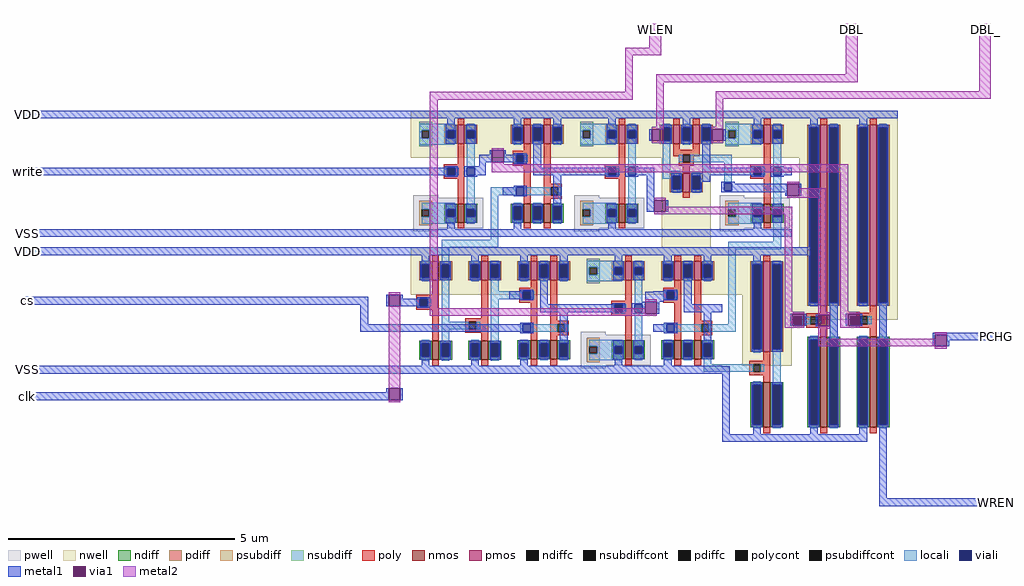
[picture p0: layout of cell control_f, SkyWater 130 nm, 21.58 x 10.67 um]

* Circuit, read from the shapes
.subckt control_f DBL DBL_ PCHG VDD VSS WLEN WREN clk cs write
XM1 n1 clk VSS VSS sky130_fd_pr__nfet_01v8 w=0.42 l=0.15
XM2 n2 write VSS VSS sky130_fd_pr__nfet_01v8 w=0.42 l=0.15
XM3 n3 n1 VSS VSS sky130_fd_pr__nfet_01v8 w=0.42 l=0.15
XM4 n4 n2 VSS VSS sky130_fd_pr__nfet_01v8 w=0.42 l=0.15
XM5 n5 n3 VSS VSS sky130_fd_pr__nfet_01v8 w=0.42 l=0.15
XM6 n6 n1 n4 VSS sky130_fd_pr__nfet_01v8 w=0.42 l=0.15
XM7 n7 cs n5 VSS sky130_fd_pr__nfet_01v8 w=0.42 l=0.15
XM8 n8 n6 VSS VSS sky130_fd_pr__nfet_01v8 w=0.42 l=0.15
XM9 WLEN n7 VSS VSS sky130_fd_pr__nfet_01v8 w=0.42 l=0.15
XM10 n9 WLEN VSS VSS sky130_fd_pr__nfet_01v8 w=0.42 l=0.15
XM11 n10 n11 n9 VSS sky130_fd_pr__nfet_01v8 w=0.42 l=0.15
XM12 n12 n10 VSS VSS sky130_fd_pr__nfet_01v8 w=1 l=0.15
XM13 n11 DBL_ VSS VSS sky130_fd_pr__nfet_01v8 w=0.42 l=0.15
XM14 PCHG n8 VSS VSS sky130_fd_pr__nfet_01v8 w=2 l=0.15
XM15 WREN n2 VSS VSS sky130_fd_pr__nfet_01v8 w=2 l=0.15
XM16 n1 clk VDD VDD sky130_fd_pr__pfet_01v8 w=0.42 l=0.15
XM17 n2 write VDD VDD sky130_fd_pr__pfet_01v8 w=0.42 l=0.15
XM18 n3 n1 VDD VDD sky130_fd_pr__pfet_01v8 w=0.42 l=0.15
XM19 n6 n2 VDD VDD sky130_fd_pr__pfet_01v8 w=0.42 l=0.15
XM20 n7 n3 VDD VDD sky130_fd_pr__pfet_01v8 w=0.42 l=0.15
XM21 VDD n1 n6 VDD sky130_fd_pr__pfet_01v8 w=0.42 l=0.15
XM22 VDD cs n7 VDD sky130_fd_pr__pfet_01v8 w=0.42 l=0.15
XM23 n8 n6 VDD VDD sky130_fd_pr__pfet_01v8 w=0.42 l=0.15
XM24 WLEN n7 VDD VDD sky130_fd_pr__pfet_01v8 w=0.42 l=0.15
XM25 VDD PCHG DBL VDD sky130_fd_pr__pfet_01v8 w=0.42 l=0.15
XM26 n10 WLEN VDD VDD sky130_fd_pr__pfet_01v8 w=0.42 l=0.15
XM27 DBL_ PCHG DBL VDD sky130_fd_pr__pfet_01v8 w=0.42 l=0.15
XM28 DBL_ PCHG VDD VDD sky130_fd_pr__pfet_01v8 w=0.42 l=0.15
XM29 VDD n11 n10 VDD sky130_fd_pr__pfet_01v8 w=0.42 l=0.15
XM30 n12 n10 VDD VDD sky130_fd_pr__pfet_01v8 w=2 l=0.15
XM31 n11 DBL_ VDD VDD sky130_fd_pr__pfet_01v8 w=0.42 l=0.15
XM32 PCHG n8 VDD VDD sky130_fd_pr__pfet_01v8 w=4 l=0.15
XM33 WREN n2 VDD VDD sky130_fd_pr__pfet_01v8 w=4 l=0.15
.ends

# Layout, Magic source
magic
tech sky130A
magscale 1 2
<< nwell >>
rect 1711 1541 3864 1749
rect 2820 1144 3038 1541
rect 3395 1540 3864 1541
rect 3428 1144 3864 1540
rect 1711 936 3864 1144
rect 3088 935 3864 936
rect 3176 825 3864 935
rect 3176 620 3394 825
<< pwell >>
rect 1721 1364 1831 1376
rect 2433 1364 2543 1376
rect 1721 1228 2031 1364
rect 2433 1228 2743 1364
rect 1721 1216 1831 1228
rect 2433 1216 2543 1228
rect 3076 1364 3186 1376
rect 3076 1228 3386 1364
rect 3076 1216 3186 1228
rect 2462 759 2572 771
rect 2462 623 2772 759
rect 2462 611 2572 623
<< nmos >>
rect 1917 1254 1947 1338
rect 2211 1254 2241 1338
rect 2299 1254 2329 1338
rect 2629 1254 2659 1338
rect 3272 1254 3302 1338
rect 1805 648 1835 732
rect 2023 648 2053 732
rect 2240 649 2270 733
rect 2328 649 2358 733
rect 2658 649 2688 733
rect 2876 649 2906 733
rect 2964 649 2994 733
rect 3270 349 3300 549
rect 3522 349 3552 749
rect 3740 349 3770 749
<< pmos >>
rect 1917 1603 1947 1687
rect 2211 1603 2241 1687
rect 2299 1603 2329 1687
rect 2629 1603 2659 1687
rect 2870 1603 2900 1687
rect 2958 1603 2988 1687
rect 3272 1603 3302 1687
rect 2914 1389 2944 1473
rect 1805 998 1835 1082
rect 2023 998 2053 1082
rect 2240 998 2270 1082
rect 2328 998 2358 1082
rect 2658 998 2688 1082
rect 2876 998 2906 1082
rect 2964 998 2994 1082
rect 3270 682 3300 1082
rect 3522 887 3552 1687
rect 3740 887 3770 1687
<< ndiff >>
rect 1859 1313 1917 1338
rect 1859 1279 1871 1313
rect 1905 1279 1917 1313
rect 1859 1254 1917 1279
rect 1947 1313 2005 1338
rect 1947 1279 1959 1313
rect 1993 1279 2005 1313
rect 1947 1254 2005 1279
rect 2153 1326 2211 1338
rect 2153 1266 2165 1326
rect 2199 1266 2211 1326
rect 2153 1254 2211 1266
rect 2241 1326 2299 1338
rect 2241 1266 2253 1326
rect 2287 1266 2299 1326
rect 2241 1254 2299 1266
rect 2329 1326 2387 1338
rect 2329 1266 2341 1326
rect 2375 1266 2387 1326
rect 2329 1254 2387 1266
rect 2571 1313 2629 1338
rect 2571 1279 2583 1313
rect 2617 1279 2629 1313
rect 2571 1254 2629 1279
rect 2659 1313 2717 1338
rect 2659 1279 2671 1313
rect 2705 1279 2717 1313
rect 2659 1254 2717 1279
rect 3214 1313 3272 1338
rect 3214 1279 3226 1313
rect 3260 1279 3272 1313
rect 3214 1254 3272 1279
rect 3302 1313 3360 1338
rect 3302 1279 3314 1313
rect 3348 1279 3360 1313
rect 3302 1254 3360 1279
rect 1747 720 1805 732
rect 1747 660 1759 720
rect 1793 660 1805 720
rect 1747 648 1805 660
rect 1835 720 1893 732
rect 1835 660 1847 720
rect 1881 660 1893 720
rect 1835 648 1893 660
rect 1965 720 2023 732
rect 1965 660 1977 720
rect 2011 660 2023 720
rect 1965 648 2023 660
rect 2053 720 2111 732
rect 2053 660 2065 720
rect 2099 660 2111 720
rect 2053 648 2111 660
rect 2182 721 2240 733
rect 2182 661 2194 721
rect 2228 661 2240 721
rect 2182 649 2240 661
rect 2270 721 2328 733
rect 2270 661 2282 721
rect 2316 661 2328 721
rect 2270 649 2328 661
rect 2358 721 2416 733
rect 2358 661 2370 721
rect 2404 661 2416 721
rect 2358 649 2416 661
rect 2600 708 2658 733
rect 2600 674 2612 708
rect 2646 674 2658 708
rect 2600 649 2658 674
rect 2688 708 2746 733
rect 2688 674 2700 708
rect 2734 674 2746 708
rect 2688 649 2746 674
rect 2818 721 2876 733
rect 2818 661 2830 721
rect 2864 661 2876 721
rect 2818 649 2876 661
rect 2906 721 2964 733
rect 2906 661 2918 721
rect 2952 661 2964 721
rect 2906 649 2964 661
rect 2994 721 3052 733
rect 2994 661 3006 721
rect 3040 661 3052 721
rect 3464 737 3522 749
rect 2994 649 3052 661
rect 3212 537 3270 549
rect 3212 361 3224 537
rect 3258 361 3270 537
rect 3212 349 3270 361
rect 3300 537 3358 549
rect 3300 361 3312 537
rect 3346 361 3358 537
rect 3300 349 3358 361
rect 3464 361 3476 737
rect 3510 361 3522 737
rect 3464 349 3522 361
rect 3552 737 3610 749
rect 3552 361 3564 737
rect 3598 361 3610 737
rect 3552 349 3610 361
rect 3682 737 3740 749
rect 3682 361 3694 737
rect 3728 361 3740 737
rect 3682 349 3740 361
rect 3770 737 3828 749
rect 3770 361 3782 737
rect 3816 361 3828 737
rect 3770 349 3828 361
<< pdiff >>
rect 1859 1662 1917 1687
rect 1859 1628 1871 1662
rect 1905 1628 1917 1662
rect 1859 1603 1917 1628
rect 1947 1662 2005 1687
rect 1947 1628 1959 1662
rect 1993 1628 2005 1662
rect 1947 1603 2005 1628
rect 2153 1675 2211 1687
rect 2153 1615 2165 1675
rect 2199 1615 2211 1675
rect 2153 1603 2211 1615
rect 2241 1675 2299 1687
rect 2241 1615 2253 1675
rect 2287 1615 2299 1675
rect 2241 1603 2299 1615
rect 2329 1675 2387 1687
rect 2329 1615 2341 1675
rect 2375 1615 2387 1675
rect 2329 1603 2387 1615
rect 2571 1662 2629 1687
rect 2571 1628 2583 1662
rect 2617 1628 2629 1662
rect 2571 1603 2629 1628
rect 2659 1662 2717 1687
rect 2659 1628 2671 1662
rect 2705 1628 2717 1662
rect 2659 1603 2717 1628
rect 2812 1675 2870 1687
rect 2812 1615 2824 1675
rect 2858 1615 2870 1675
rect 2812 1603 2870 1615
rect 2900 1675 2958 1687
rect 2900 1615 2912 1675
rect 2946 1615 2958 1675
rect 2900 1603 2958 1615
rect 2988 1675 3046 1687
rect 2988 1615 3000 1675
rect 3034 1615 3046 1675
rect 2988 1603 3046 1615
rect 3214 1662 3272 1687
rect 3214 1628 3226 1662
rect 3260 1628 3272 1662
rect 3214 1603 3272 1628
rect 3302 1662 3360 1687
rect 3302 1628 3314 1662
rect 3348 1628 3360 1662
rect 3302 1603 3360 1628
rect 3464 1675 3522 1687
rect 2856 1461 2914 1473
rect 2856 1401 2868 1461
rect 2902 1401 2914 1461
rect 2856 1389 2914 1401
rect 2944 1461 3002 1473
rect 2944 1401 2956 1461
rect 2990 1401 3002 1461
rect 2944 1389 3002 1401
rect 1747 1070 1805 1082
rect 1747 1010 1759 1070
rect 1793 1010 1805 1070
rect 1747 998 1805 1010
rect 1835 1070 1893 1082
rect 1835 1010 1847 1070
rect 1881 1010 1893 1070
rect 1835 998 1893 1010
rect 1965 1070 2023 1082
rect 1965 1010 1977 1070
rect 2011 1010 2023 1070
rect 1965 998 2023 1010
rect 2053 1070 2111 1082
rect 2053 1010 2065 1070
rect 2099 1010 2111 1070
rect 2053 998 2111 1010
rect 2182 1070 2240 1082
rect 2182 1010 2194 1070
rect 2228 1010 2240 1070
rect 2182 998 2240 1010
rect 2270 1070 2328 1082
rect 2270 1010 2282 1070
rect 2316 1010 2328 1070
rect 2270 998 2328 1010
rect 2358 1070 2416 1082
rect 2358 1010 2370 1070
rect 2404 1010 2416 1070
rect 2358 998 2416 1010
rect 2600 1057 2658 1082
rect 2600 1023 2612 1057
rect 2646 1023 2658 1057
rect 2600 998 2658 1023
rect 2688 1057 2746 1082
rect 2688 1023 2700 1057
rect 2734 1023 2746 1057
rect 2688 998 2746 1023
rect 2818 1070 2876 1082
rect 2818 1010 2830 1070
rect 2864 1010 2876 1070
rect 2818 998 2876 1010
rect 2906 1070 2964 1082
rect 2906 1010 2918 1070
rect 2952 1010 2964 1070
rect 2906 998 2964 1010
rect 2994 1070 3052 1082
rect 2994 1010 3006 1070
rect 3040 1010 3052 1070
rect 2994 998 3052 1010
rect 3212 1070 3270 1082
rect 3212 694 3224 1070
rect 3258 694 3270 1070
rect 3212 682 3270 694
rect 3300 1070 3358 1082
rect 3300 694 3312 1070
rect 3346 694 3358 1070
rect 3464 899 3476 1675
rect 3510 899 3522 1675
rect 3464 887 3522 899
rect 3552 1675 3610 1687
rect 3552 899 3564 1675
rect 3598 899 3610 1675
rect 3552 887 3610 899
rect 3682 1675 3740 1687
rect 3682 899 3694 1675
rect 3728 899 3740 1675
rect 3682 887 3740 899
rect 3770 1675 3828 1687
rect 3770 899 3782 1675
rect 3816 899 3828 1675
rect 3770 887 3828 899
rect 3300 682 3358 694
<< ndiffc >>
rect 1871 1279 1905 1313
rect 1959 1279 1993 1313
rect 2165 1266 2199 1326
rect 2253 1266 2287 1326
rect 2341 1266 2375 1326
rect 2583 1279 2617 1313
rect 2671 1279 2705 1313
rect 3226 1279 3260 1313
rect 3314 1279 3348 1313
rect 1759 660 1793 720
rect 1847 660 1881 720
rect 1977 660 2011 720
rect 2065 660 2099 720
rect 2194 661 2228 721
rect 2282 661 2316 721
rect 2370 661 2404 721
rect 2612 674 2646 708
rect 2700 674 2734 708
rect 2830 661 2864 721
rect 2918 661 2952 721
rect 3006 661 3040 721
rect 3224 361 3258 537
rect 3312 361 3346 537
rect 3476 361 3510 737
rect 3564 361 3598 737
rect 3694 361 3728 737
rect 3782 361 3816 737
<< pdiffc >>
rect 1871 1628 1905 1662
rect 1959 1628 1993 1662
rect 2165 1615 2199 1675
rect 2253 1615 2287 1675
rect 2341 1615 2375 1675
rect 2583 1628 2617 1662
rect 2671 1628 2705 1662
rect 2824 1615 2858 1675
rect 2912 1615 2946 1675
rect 3000 1615 3034 1675
rect 3226 1628 3260 1662
rect 3314 1628 3348 1662
rect 2868 1401 2902 1461
rect 2956 1401 2990 1461
rect 1759 1010 1793 1070
rect 1847 1010 1881 1070
rect 1977 1010 2011 1070
rect 2065 1010 2099 1070
rect 2194 1010 2228 1070
rect 2282 1010 2316 1070
rect 2370 1010 2404 1070
rect 2612 1023 2646 1057
rect 2700 1023 2734 1057
rect 2830 1010 2864 1070
rect 2918 1010 2952 1070
rect 3006 1010 3040 1070
rect 3224 694 3258 1070
rect 3312 694 3346 1070
rect 3476 899 3510 1675
rect 3564 899 3598 1675
rect 3694 899 3728 1675
rect 3782 899 3816 1675
<< psubdiff >>
rect 1747 1313 1805 1350
rect 1747 1279 1759 1313
rect 1793 1279 1805 1313
rect 1747 1242 1805 1279
rect 2459 1313 2517 1350
rect 2459 1279 2471 1313
rect 2505 1279 2517 1313
rect 2459 1242 2517 1279
rect 3102 1313 3160 1350
rect 3102 1279 3114 1313
rect 3148 1279 3160 1313
rect 3102 1242 3160 1279
rect 2488 708 2546 745
rect 2488 674 2500 708
rect 2534 674 2546 708
rect 2488 637 2546 674
<< nsubdiff >>
rect 1747 1662 1805 1699
rect 1747 1628 1759 1662
rect 1793 1628 1805 1662
rect 1747 1591 1805 1628
rect 2459 1662 2517 1699
rect 2459 1628 2471 1662
rect 2505 1628 2517 1662
rect 2459 1591 2517 1628
rect 3102 1662 3160 1699
rect 3102 1628 3114 1662
rect 3148 1628 3160 1662
rect 3102 1591 3160 1628
rect 2488 1057 2546 1094
rect 2488 1023 2500 1057
rect 2534 1023 2546 1057
rect 2488 986 2546 1023
<< psubdiffcont >>
rect 1759 1279 1793 1313
rect 2471 1279 2505 1313
rect 3114 1279 3148 1313
rect 2500 674 2534 708
<< nsubdiffcont >>
rect 1759 1628 1793 1662
rect 2471 1628 2505 1662
rect 3114 1628 3148 1662
rect 2500 1023 2534 1057
<< poly >>
rect 1917 1687 1947 1713
rect 2211 1687 2241 1713
rect 2299 1687 2329 1713
rect 2629 1687 2659 1713
rect 2870 1687 2900 1713
rect 2958 1687 2988 1713
rect 1917 1513 1947 1603
rect 2211 1571 2241 1603
rect 1856 1497 1947 1513
rect 2161 1555 2241 1571
rect 2161 1521 2177 1555
rect 2211 1521 2241 1555
rect 2161 1505 2241 1521
rect 1856 1463 1872 1497
rect 1906 1463 1947 1497
rect 1856 1447 1947 1463
rect 1917 1338 1947 1447
rect 2211 1338 2241 1505
rect 2299 1426 2329 1603
rect 3272 1687 3302 1713
rect 3522 1687 3552 1713
rect 3740 1687 3770 1713
rect 2629 1513 2659 1603
rect 2870 1577 2900 1603
rect 2958 1577 2988 1603
rect 2870 1555 2988 1577
rect 2870 1547 2912 1555
rect 2568 1497 2659 1513
rect 2896 1521 2912 1547
rect 2946 1547 2988 1555
rect 2946 1521 2961 1547
rect 2896 1505 2961 1521
rect 3272 1513 3302 1603
rect 2913 1499 2944 1505
rect 2568 1463 2584 1497
rect 2618 1463 2659 1497
rect 2914 1473 2944 1499
rect 3211 1497 3302 1513
rect 2568 1447 2659 1463
rect 2299 1410 2379 1426
rect 2299 1376 2329 1410
rect 2363 1376 2379 1410
rect 2299 1360 2379 1376
rect 2299 1338 2329 1360
rect 2629 1338 2659 1447
rect 3211 1463 3227 1497
rect 3261 1463 3302 1497
rect 3211 1447 3302 1463
rect 2914 1363 2944 1389
rect 1917 1228 1947 1254
rect 2211 1228 2241 1254
rect 2299 1228 2329 1254
rect 3272 1338 3302 1447
rect 2629 1228 2659 1254
rect 3272 1228 3302 1254
rect 1805 1082 1835 1108
rect 2023 1082 2053 1108
rect 2240 1082 2270 1108
rect 2328 1082 2358 1108
rect 2658 1082 2688 1108
rect 2876 1082 2906 1108
rect 2964 1082 2994 1108
rect 3270 1082 3300 1108
rect 1805 935 1835 998
rect 1734 918 1835 935
rect 1734 884 1751 918
rect 1785 884 1835 918
rect 1734 868 1835 884
rect 1805 732 1835 868
rect 2023 832 2053 998
rect 2240 966 2270 998
rect 2190 950 2270 966
rect 2190 916 2206 950
rect 2240 916 2270 950
rect 2190 900 2270 916
rect 1951 816 2053 832
rect 1951 782 1967 816
rect 2001 782 2053 816
rect 1951 766 2053 782
rect 2023 732 2053 766
rect 2240 733 2270 900
rect 2328 821 2358 998
rect 2658 908 2688 998
rect 2876 966 2906 998
rect 2597 892 2688 908
rect 2826 950 2906 966
rect 2826 916 2842 950
rect 2876 916 2906 950
rect 2826 900 2906 916
rect 2597 858 2613 892
rect 2647 858 2688 892
rect 2597 842 2688 858
rect 2328 805 2408 821
rect 2328 771 2358 805
rect 2392 771 2408 805
rect 2328 755 2408 771
rect 2328 733 2358 755
rect 2658 733 2688 842
rect 2876 733 2906 900
rect 2964 821 2994 998
rect 2964 805 3044 821
rect 2964 771 2994 805
rect 3028 771 3044 805
rect 2964 755 3044 771
rect 2964 733 2994 755
rect 1805 622 1835 648
rect 2023 622 2053 648
rect 2240 623 2270 649
rect 2328 623 2358 649
rect 3522 854 3552 887
rect 3740 855 3770 887
rect 3460 838 3552 854
rect 3460 804 3476 838
rect 3510 804 3552 838
rect 3460 788 3552 804
rect 3681 839 3770 855
rect 3681 805 3698 839
rect 3732 805 3770 839
rect 3681 789 3770 805
rect 3522 749 3552 788
rect 3740 749 3770 789
rect 2658 623 2688 649
rect 2876 623 2906 649
rect 2964 623 2994 649
rect 3270 644 3300 682
rect 3208 628 3300 644
rect 3208 594 3224 628
rect 3258 594 3300 628
rect 3208 578 3300 594
rect 3270 549 3300 578
rect 3270 323 3300 349
rect 3522 323 3552 349
rect 3740 323 3770 349
<< polycont >>
rect 2177 1521 2211 1555
rect 1872 1463 1906 1497
rect 2912 1521 2946 1555
rect 2584 1463 2618 1497
rect 2329 1376 2363 1410
rect 3227 1463 3261 1497
rect 1751 884 1785 918
rect 2206 916 2240 950
rect 1967 782 2001 816
rect 2842 916 2876 950
rect 2613 858 2647 892
rect 2358 771 2392 805
rect 2994 771 3028 805
rect 3476 804 3510 838
rect 3698 805 3732 839
rect 3224 594 3258 628
<< locali >>
rect 1747 1662 1905 1691
rect 1747 1628 1759 1662
rect 1793 1628 1871 1662
rect 1747 1599 1905 1628
rect 1959 1662 1993 1691
rect 1959 1497 1993 1628
rect 2165 1675 2199 1691
rect 2165 1599 2199 1615
rect 2253 1675 2287 1691
rect 2253 1599 2287 1615
rect 2341 1675 2375 1691
rect 2341 1599 2375 1615
rect 2459 1662 2617 1691
rect 2459 1628 2471 1662
rect 2505 1628 2583 1662
rect 2459 1599 2617 1628
rect 2671 1662 2705 1691
rect 2161 1521 2177 1555
rect 2211 1521 2227 1555
rect 2671 1497 2705 1628
rect 1856 1463 1872 1497
rect 1906 1463 1922 1497
rect 2568 1463 2584 1497
rect 2618 1463 2634 1497
rect 1759 1313 1905 1342
rect 1793 1279 1871 1313
rect 1759 1250 1905 1279
rect 1959 1313 1993 1463
rect 1959 1250 1993 1279
rect 2063 1376 2177 1410
rect 2211 1376 2329 1410
rect 2363 1376 2379 1410
rect 2063 1178 2097 1376
rect 2165 1326 2199 1342
rect 2165 1250 2199 1266
rect 2253 1326 2287 1342
rect 2253 1250 2287 1266
rect 2341 1326 2375 1342
rect 2341 1250 2375 1266
rect 2471 1313 2617 1342
rect 2505 1279 2583 1313
rect 2471 1250 2617 1279
rect 2671 1313 2705 1463
rect 2824 1675 2858 1691
rect 2824 1483 2858 1615
rect 2912 1675 2946 1691
rect 2912 1599 2946 1615
rect 3000 1675 3034 1691
rect 3000 1599 3034 1615
rect 3102 1662 3260 1691
rect 3102 1628 3114 1662
rect 3148 1628 3226 1662
rect 3102 1599 3260 1628
rect 3314 1662 3348 1691
rect 2896 1521 2912 1555
rect 2946 1521 3130 1555
rect 2824 1461 2902 1483
rect 2824 1449 2868 1461
rect 2868 1385 2902 1401
rect 2956 1461 2990 1477
rect 2956 1385 2990 1401
rect 3096 1429 3130 1521
rect 3314 1497 3348 1628
rect 3211 1463 3227 1497
rect 3261 1463 3277 1497
rect 2671 1250 2705 1279
rect 3114 1313 3260 1342
rect 3148 1279 3226 1313
rect 3114 1250 3260 1279
rect 3314 1313 3348 1463
rect 1847 1144 2097 1178
rect 3314 1170 3348 1279
rect 1759 1070 1793 1086
rect 1759 994 1793 1010
rect 1847 1070 1881 1144
rect 3114 1136 3348 1170
rect 3476 1675 3510 1691
rect 1734 884 1751 918
rect 1785 884 1801 918
rect 1847 816 1881 1010
rect 1977 1070 2011 1086
rect 1977 994 2011 1010
rect 2065 1070 2099 1086
rect 2065 950 2099 1010
rect 2194 1070 2228 1086
rect 2194 994 2228 1010
rect 2282 1070 2316 1086
rect 2282 994 2316 1010
rect 2370 1070 2404 1086
rect 2370 994 2404 1010
rect 2488 1057 2646 1086
rect 2488 1023 2500 1057
rect 2534 1023 2612 1057
rect 2488 994 2646 1023
rect 2700 1057 2734 1086
rect 2065 916 2206 950
rect 2240 916 2256 950
rect 1847 782 1967 816
rect 2001 782 2017 816
rect 1759 720 1793 736
rect 1759 644 1793 660
rect 1847 720 1881 782
rect 1847 644 1881 660
rect 1977 720 2011 736
rect 1977 644 2011 660
rect 2065 720 2099 916
rect 2700 892 2734 1023
rect 2830 1070 2864 1086
rect 2830 994 2864 1010
rect 2918 1070 2952 1086
rect 2918 994 2952 1010
rect 3006 1070 3040 1086
rect 3006 994 3040 1010
rect 2826 916 2842 950
rect 2876 916 2892 950
rect 2597 858 2613 892
rect 2647 858 2663 892
rect 2194 771 2206 805
rect 2240 771 2358 805
rect 2392 771 2408 805
rect 2065 644 2099 660
rect 2194 721 2228 737
rect 2194 645 2228 661
rect 2282 721 2316 737
rect 2282 645 2316 661
rect 2370 721 2404 737
rect 2370 645 2404 661
rect 2500 708 2646 737
rect 2534 674 2612 708
rect 2500 645 2646 674
rect 2700 708 2734 858
rect 3114 805 3148 1136
rect 2830 771 2842 805
rect 2876 771 2994 805
rect 3028 771 3148 805
rect 3224 1070 3258 1086
rect 2700 645 2734 674
rect 2830 721 2864 737
rect 2830 645 2864 661
rect 2918 721 2952 737
rect 2918 645 2952 661
rect 3006 721 3040 737
rect 3224 678 3258 694
rect 3312 1070 3346 1086
rect 3476 883 3510 899
rect 3564 1675 3598 1691
rect 3439 804 3476 838
rect 3510 804 3526 838
rect 3006 628 3040 661
rect 3006 594 3224 628
rect 3258 594 3274 628
rect 3224 537 3258 553
rect 3224 345 3258 361
rect 3312 537 3346 694
rect 3312 345 3346 361
rect 3476 737 3510 753
rect 3476 345 3510 361
rect 3564 737 3598 899
rect 3694 1675 3728 1691
rect 3694 883 3728 899
rect 3782 1675 3816 1691
rect 3687 805 3698 839
rect 3732 805 3748 839
rect 3564 345 3598 361
rect 3694 737 3728 753
rect 3694 345 3728 361
rect 3782 737 3816 899
rect 3782 345 3816 361
<< viali >>
rect 1871 1628 1905 1662
rect 1959 1628 1993 1662
rect 2165 1615 2199 1675
rect 2253 1615 2287 1675
rect 2341 1615 2375 1675
rect 2583 1628 2617 1662
rect 2671 1628 2705 1662
rect 2177 1521 2211 1555
rect 1872 1463 1906 1497
rect 1959 1463 1993 1497
rect 2584 1463 2618 1497
rect 2671 1463 2705 1497
rect 1871 1279 1905 1313
rect 1959 1279 1993 1313
rect 2177 1376 2211 1410
rect 2165 1266 2199 1326
rect 2253 1266 2287 1326
rect 2341 1266 2375 1326
rect 2583 1279 2617 1313
rect 2824 1615 2858 1675
rect 2912 1615 2946 1675
rect 3000 1615 3034 1675
rect 3226 1628 3260 1662
rect 3314 1628 3348 1662
rect 2868 1401 2902 1461
rect 2956 1401 2990 1461
rect 3227 1463 3261 1497
rect 3314 1463 3348 1497
rect 3096 1395 3130 1429
rect 2671 1279 2705 1313
rect 3226 1279 3260 1313
rect 3314 1279 3348 1313
rect 1759 1010 1793 1070
rect 1847 1010 1881 1070
rect 1751 884 1785 918
rect 1977 1010 2011 1070
rect 2065 1010 2099 1070
rect 2194 1010 2228 1070
rect 2282 1010 2316 1070
rect 2370 1010 2404 1070
rect 2612 1023 2646 1057
rect 2700 1023 2734 1057
rect 2206 916 2240 950
rect 1759 660 1793 720
rect 1847 660 1881 720
rect 1977 660 2011 720
rect 2830 1010 2864 1070
rect 2918 1010 2952 1070
rect 3006 1010 3040 1070
rect 2842 916 2876 950
rect 2613 858 2647 892
rect 2700 858 2734 892
rect 2206 771 2240 805
rect 2065 660 2099 720
rect 2194 661 2228 721
rect 2282 661 2316 721
rect 2370 661 2404 721
rect 2612 674 2646 708
rect 2842 771 2876 805
rect 2700 674 2734 708
rect 2830 661 2864 721
rect 2918 661 2952 721
rect 3006 661 3040 721
rect 3224 694 3258 1070
rect 3312 694 3346 1070
rect 3476 899 3510 1675
rect 3564 899 3598 1675
rect 3405 804 3439 838
rect 3224 361 3258 537
rect 3312 361 3346 537
rect 3476 361 3510 737
rect 3694 899 3728 1675
rect 3782 899 3816 1675
rect 3653 805 3687 839
rect 3564 361 3598 737
rect 3694 361 3728 737
rect 3782 361 3816 737
<< metal1 >>
rect 0 1715 3864 1749
rect 1871 1687 1905 1715
rect 2165 1687 2199 1715
rect 2341 1687 2375 1715
rect 2583 1687 2617 1715
rect 2912 1687 2946 1715
rect 3226 1687 3260 1715
rect 3476 1687 3510 1715
rect 3694 1687 3728 1715
rect 1865 1662 1911 1687
rect 1865 1628 1871 1662
rect 1905 1628 1911 1662
rect 1865 1603 1911 1628
rect 1953 1662 1999 1687
rect 1953 1628 1959 1662
rect 1993 1628 1999 1662
rect 1953 1603 1999 1628
rect 2159 1675 2205 1687
rect 2159 1615 2165 1675
rect 2199 1615 2205 1675
rect 2159 1603 2205 1615
rect 2247 1675 2293 1687
rect 2247 1615 2253 1675
rect 2287 1615 2293 1675
rect 2247 1603 2293 1615
rect 2335 1675 2381 1687
rect 2335 1615 2341 1675
rect 2375 1615 2381 1675
rect 2335 1603 2381 1615
rect 2577 1662 2623 1687
rect 2577 1628 2583 1662
rect 2617 1628 2623 1662
rect 2577 1603 2623 1628
rect 2665 1662 2711 1687
rect 2818 1675 2864 1687
rect 2818 1667 2824 1675
rect 2665 1628 2671 1662
rect 2705 1628 2711 1662
rect 2665 1603 2711 1628
rect 2766 1615 2776 1667
rect 2858 1615 2864 1675
rect 2818 1603 2864 1615
rect 2906 1675 2952 1687
rect 2906 1615 2912 1675
rect 2946 1615 2952 1675
rect 2906 1603 2952 1615
rect 2994 1675 3040 1687
rect 2994 1615 3000 1675
rect 3034 1615 3040 1675
rect 3093 1615 3103 1667
rect 3220 1662 3266 1687
rect 3220 1628 3226 1662
rect 3260 1628 3266 1662
rect 2994 1603 3040 1615
rect 3220 1603 3266 1628
rect 3308 1662 3354 1687
rect 3308 1628 3314 1662
rect 3348 1628 3354 1662
rect 3308 1603 3354 1628
rect 3470 1675 3516 1687
rect 2059 1555 2069 1573
rect 2013 1521 2069 1555
rect 2121 1555 2131 1573
rect 2165 1555 2223 1561
rect 2121 1521 2177 1555
rect 2211 1521 2223 1555
rect 2013 1503 2041 1521
rect 2165 1515 2223 1521
rect 1860 1497 1918 1503
rect 0 1463 1872 1497
rect 1906 1463 1918 1497
rect 1860 1457 1918 1463
rect 1947 1497 2041 1503
rect 1947 1463 1959 1497
rect 1993 1463 2041 1497
rect 2253 1497 2287 1603
rect 2572 1497 2630 1503
rect 2253 1463 2584 1497
rect 2618 1463 2630 1497
rect 1947 1457 2005 1463
rect 2165 1410 2223 1416
rect 2117 1376 2177 1410
rect 2211 1376 2223 1410
rect 2165 1370 2223 1376
rect 2341 1338 2375 1463
rect 2572 1457 2630 1463
rect 2659 1497 2717 1503
rect 3000 1497 3034 1603
rect 3215 1497 3273 1503
rect 2659 1463 2671 1497
rect 2705 1463 2787 1497
rect 3000 1473 3227 1497
rect 2659 1457 2717 1463
rect 1865 1313 1911 1338
rect 1865 1279 1871 1313
rect 1905 1279 1911 1313
rect 1865 1254 1911 1279
rect 1953 1313 1999 1338
rect 1953 1279 1959 1313
rect 1993 1279 1999 1313
rect 1953 1254 1999 1279
rect 2159 1326 2205 1338
rect 2159 1266 2165 1326
rect 2199 1266 2205 1326
rect 2159 1254 2205 1266
rect 2247 1326 2293 1338
rect 2247 1266 2253 1326
rect 2287 1266 2293 1326
rect 2247 1254 2293 1266
rect 2335 1326 2381 1338
rect 2335 1266 2341 1326
rect 2375 1266 2381 1326
rect 2335 1254 2381 1266
rect 2577 1313 2623 1338
rect 2577 1279 2583 1313
rect 2617 1279 2623 1313
rect 2577 1254 2623 1279
rect 2665 1313 2711 1338
rect 2665 1279 2671 1313
rect 2705 1279 2711 1313
rect 2753 1301 2787 1463
rect 2862 1461 2908 1473
rect 2862 1401 2868 1461
rect 2902 1401 2908 1461
rect 2862 1389 2908 1401
rect 2950 1463 3227 1473
rect 3261 1463 3273 1497
rect 2950 1461 3034 1463
rect 2950 1401 2956 1461
rect 2990 1435 3034 1461
rect 3215 1457 3273 1463
rect 3302 1497 3360 1503
rect 3302 1463 3314 1497
rect 3348 1463 3396 1497
rect 3302 1457 3360 1463
rect 2990 1401 2996 1435
rect 2950 1389 2996 1401
rect 3084 1429 3142 1435
rect 3084 1395 3096 1429
rect 3130 1425 3142 1429
rect 3130 1395 3376 1425
rect 3084 1389 3376 1395
rect 3366 1373 3376 1389
rect 3428 1373 3438 1425
rect 2839 1301 2849 1353
rect 3220 1313 3266 1338
rect 2665 1254 2711 1279
rect 3220 1279 3226 1313
rect 3260 1279 3266 1313
rect 3220 1254 3266 1279
rect 3308 1313 3354 1338
rect 3308 1279 3314 1313
rect 3348 1279 3354 1313
rect 3308 1254 3354 1279
rect 1871 1225 1905 1254
rect 2165 1225 2199 1254
rect 2583 1225 2617 1254
rect 3226 1225 3260 1254
rect 0 1191 3396 1225
rect 3470 1144 3476 1675
rect 0 1110 3476 1144
rect 1759 1082 1793 1110
rect 1977 1082 2011 1110
rect 2194 1082 2228 1110
rect 2370 1082 2404 1110
rect 2612 1082 2646 1110
rect 2830 1082 2864 1110
rect 3006 1082 3040 1110
rect 3224 1082 3258 1110
rect 1753 1070 1799 1082
rect 1753 1010 1759 1070
rect 1793 1010 1799 1070
rect 1753 998 1799 1010
rect 1841 1070 1887 1082
rect 1841 1010 1847 1070
rect 1881 1010 1887 1070
rect 1841 998 1887 1010
rect 1971 1070 2017 1082
rect 1971 1010 1977 1070
rect 2011 1010 2017 1070
rect 1971 998 2017 1010
rect 2059 1070 2105 1082
rect 2059 1010 2065 1070
rect 2099 1010 2105 1070
rect 2059 998 2105 1010
rect 2188 1070 2234 1082
rect 2188 1010 2194 1070
rect 2228 1010 2234 1070
rect 2188 998 2234 1010
rect 2276 1070 2322 1082
rect 2276 1010 2282 1070
rect 2316 1010 2322 1070
rect 2276 998 2322 1010
rect 2364 1070 2410 1082
rect 2364 1010 2370 1070
rect 2404 1010 2410 1070
rect 2364 998 2410 1010
rect 2606 1057 2652 1082
rect 2606 1023 2612 1057
rect 2646 1023 2652 1057
rect 2606 998 2652 1023
rect 2694 1057 2740 1082
rect 2694 1023 2700 1057
rect 2734 1023 2740 1057
rect 2694 998 2740 1023
rect 2824 1070 2870 1082
rect 2824 1010 2830 1070
rect 2864 1010 2870 1070
rect 2824 998 2870 1010
rect 2912 1070 2958 1082
rect 2912 1010 2918 1070
rect 2952 1010 2958 1070
rect 2912 998 2958 1010
rect 3000 1070 3046 1082
rect 3000 1010 3006 1070
rect 3040 1010 3046 1070
rect 3000 998 3046 1010
rect 3218 1070 3264 1082
rect 2194 950 2252 956
rect 0 891 1522 925
rect 1488 805 1522 891
rect 1602 884 1612 936
rect 1664 918 1674 936
rect 1739 918 1797 924
rect 1664 884 1751 918
rect 1785 884 1797 918
rect 2146 916 2206 950
rect 2240 916 2252 950
rect 2194 910 2252 916
rect 1739 878 1797 884
rect 2282 892 2316 998
rect 2830 950 2888 956
rect 2782 949 2842 950
rect 2748 916 2842 949
rect 2876 916 2888 950
rect 2748 910 2888 916
rect 2748 904 2830 910
rect 2737 898 2747 904
rect 2601 892 2659 898
rect 2282 858 2613 892
rect 2647 858 2659 892
rect 2194 805 2252 811
rect 1488 771 2206 805
rect 2240 771 2252 805
rect 2194 765 2252 771
rect 2370 733 2404 858
rect 2601 852 2659 858
rect 2688 892 2747 898
rect 2688 858 2700 892
rect 2734 858 2747 892
rect 2688 852 2747 858
rect 2799 852 2809 904
rect 2918 892 2952 998
rect 2918 858 3088 892
rect 2830 805 2888 811
rect 2782 771 2842 805
rect 2876 771 2888 805
rect 2830 765 2888 771
rect 3006 733 3040 858
rect 1753 720 1799 732
rect 1753 660 1759 720
rect 1793 660 1799 720
rect 1753 648 1799 660
rect 1841 720 1887 732
rect 1841 660 1847 720
rect 1881 660 1887 720
rect 1841 648 1887 660
rect 1971 720 2017 732
rect 1971 660 1977 720
rect 2011 660 2017 720
rect 1971 648 2017 660
rect 2059 720 2105 732
rect 2059 660 2065 720
rect 2099 660 2105 720
rect 2059 648 2105 660
rect 2188 721 2234 733
rect 2188 661 2194 721
rect 2228 661 2234 721
rect 2188 649 2234 661
rect 2276 721 2322 733
rect 2276 661 2282 721
rect 2316 661 2322 721
rect 2276 649 2322 661
rect 2364 721 2410 733
rect 2364 661 2370 721
rect 2404 661 2410 721
rect 2364 649 2410 661
rect 2606 708 2652 733
rect 2606 674 2612 708
rect 2646 674 2652 708
rect 2606 649 2652 674
rect 2694 708 2740 733
rect 2694 674 2700 708
rect 2734 674 2740 708
rect 2694 649 2740 674
rect 2824 721 2870 733
rect 2824 661 2830 721
rect 2864 661 2870 721
rect 2824 649 2870 661
rect 2912 721 2958 733
rect 2912 661 2918 721
rect 2952 661 2958 721
rect 2912 649 2958 661
rect 3000 721 3046 733
rect 3000 661 3006 721
rect 3040 661 3046 721
rect 3218 694 3224 1070
rect 3258 694 3264 1070
rect 3218 682 3264 694
rect 3306 1070 3352 1082
rect 3306 694 3312 1070
rect 3346 694 3352 1070
rect 3470 899 3476 1110
rect 3510 899 3516 1675
rect 3470 887 3516 899
rect 3558 1675 3604 1687
rect 3558 899 3564 1675
rect 3598 899 3604 1675
rect 3558 887 3604 899
rect 3688 1675 3734 1687
rect 3688 899 3694 1675
rect 3728 899 3734 1675
rect 3688 887 3734 899
rect 3776 1675 3822 1687
rect 3776 899 3782 1675
rect 3816 899 3822 1675
rect 3776 887 3822 899
rect 3388 798 3398 850
rect 3450 798 3460 850
rect 3502 795 3512 847
rect 3564 749 3598 887
rect 3634 798 3644 850
rect 3696 798 3706 850
rect 3782 749 3816 887
rect 4018 759 4316 768
rect 3306 682 3352 694
rect 3470 737 3516 749
rect 3000 649 3046 661
rect 1759 620 1793 648
rect 1977 620 2011 648
rect 2194 620 2228 649
rect 2612 620 2646 649
rect 2830 620 2864 649
rect 0 619 3088 620
rect 0 586 3122 619
rect 1602 503 1612 521
rect 0 469 1612 503
rect 1664 469 1674 521
rect 3088 318 3122 586
rect 3218 537 3264 549
rect 3218 361 3224 537
rect 3258 361 3264 537
rect 3218 349 3264 361
rect 3306 537 3352 549
rect 3306 361 3312 537
rect 3346 361 3352 537
rect 3306 349 3352 361
rect 3470 361 3476 737
rect 3510 361 3516 737
rect 3470 349 3516 361
rect 3558 737 3604 749
rect 3558 361 3564 737
rect 3598 361 3604 737
rect 3558 349 3604 361
rect 3688 737 3734 749
rect 3688 361 3694 737
rect 3728 361 3734 737
rect 3688 349 3734 361
rect 3776 737 3822 749
rect 3776 361 3782 737
rect 3816 361 3822 737
rect 4018 707 4028 759
rect 4081 734 4316 759
rect 4081 707 4091 734
rect 3776 349 3822 361
rect 3224 318 3258 349
rect 3476 318 3510 349
rect 3694 318 3728 349
rect 3088 284 3728 318
rect 3782 34 3816 349
rect 3782 0 4316 34
<< via1 >>
rect 2776 1615 2824 1667
rect 2824 1615 2829 1667
rect 3040 1615 3093 1667
rect 2069 1521 2121 1573
rect 3376 1373 3428 1425
rect 2787 1301 2839 1353
rect 1612 884 1664 936
rect 2747 852 2799 904
rect 3398 838 3450 850
rect 3398 804 3405 838
rect 3405 804 3439 838
rect 3439 804 3450 838
rect 3398 798 3450 804
rect 3512 795 3564 847
rect 3644 839 3696 850
rect 3644 805 3653 839
rect 3653 805 3687 839
rect 3687 805 3696 839
rect 3644 798 3696 805
rect 1612 469 1664 521
rect 4028 707 4081 759
<< metal2 >>
rect 2765 2027 2817 2133
rect 2658 1993 2817 2027
rect 2658 1832 2692 1993
rect 3634 1909 3686 2133
rect 1795 1798 2692 1832
rect 2795 1875 3686 1909
rect 2795 1801 2830 1875
rect 4224 1835 4276 2133
rect 3059 1801 4276 1835
rect 1612 936 1664 946
rect 1612 521 1664 884
rect 1795 876 1829 1798
rect 2795 1677 2829 1801
rect 3059 1677 3093 1801
rect 2776 1667 2829 1677
rect 2776 1605 2829 1615
rect 3040 1667 3093 1677
rect 3040 1605 3093 1615
rect 2069 1573 2121 1583
rect 2069 1512 2121 1521
rect 2069 1477 3644 1512
rect 3376 1425 3428 1435
rect 3428 1373 3546 1406
rect 3376 1363 3546 1373
rect 2787 1353 2839 1363
rect 2839 1301 3398 1325
rect 2787 1291 3398 1301
rect 2747 904 2799 914
rect 1795 852 2747 876
rect 1795 842 2799 852
rect 3364 860 3398 1291
rect 3364 850 3450 860
rect 3364 798 3398 850
rect 3364 788 3450 798
rect 3512 857 3546 1363
rect 3610 860 3644 1477
rect 3512 847 3564 857
rect 3512 785 3564 795
rect 3610 850 3696 860
rect 3610 798 3644 850
rect 3610 788 3696 798
rect 3512 741 3546 785
rect 4028 759 4081 769
rect 3512 707 4028 741
rect 4028 697 4081 707
rect 1612 459 1664 469
<< labels >>
rlabel metal2 2765 2081 2817 2133 0 WLEN
rlabel metal2 3634 2081 3686 2133 0 DBL
rlabel metal2 4224 2081 4276 2133 0 DBL_
rlabel metal1 4282 734 4316 768 0 PCHG
rlabel metal1 4282 0 4316 34 0 WREN
rlabel metal1 0 1715 34 1749 0 VDD
rlabel metal1 0 1463 34 1497 0 write
rlabel metal1 0 1191 34 1225 0 VSS
rlabel metal1 0 1110 34 1144 0 VDD
rlabel metal1 0 891 34 925 0 cs
rlabel metal1 0 586 34 620 0 VSS
rlabel metal1 0 469 34 503 0 clk
<< end >>
